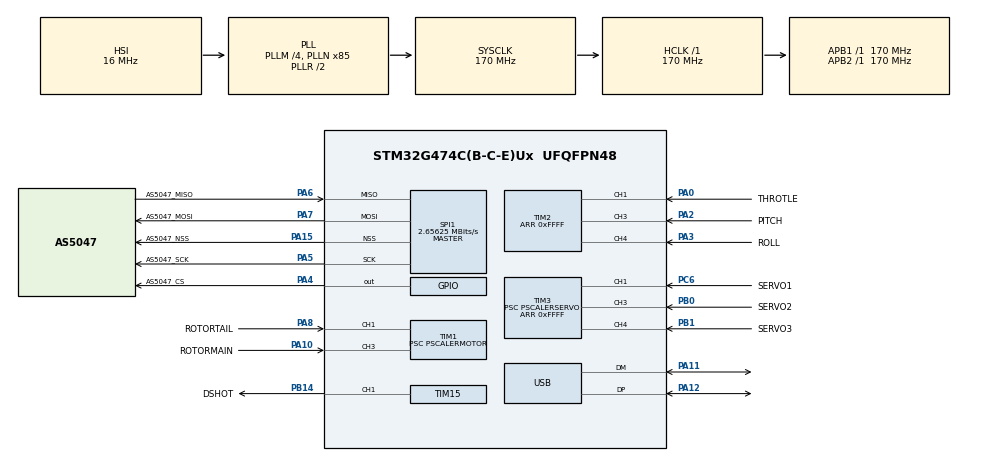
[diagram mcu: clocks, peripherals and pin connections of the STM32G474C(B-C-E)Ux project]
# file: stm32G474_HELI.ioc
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Dma.Request0=SPI1_RX
Dma.Request1=SPI1_TX
Dma.Request2=TIM15_CH1
Dma.SPI1_RX.0.Direction=DMA_PERIPH_TO_MEMORY
Dma.SPI1_RX.0.EventEnable=DISABLE
Dma.SPI1_RX.0.Instance=DMA2_Channel4
Dma.SPI1_RX.0.MemDataAlignment=DMA_MDATAALIGN_HALFWORD
Dma.SPI1_RX.0.MemInc=DMA_MINC_ENABLE
Dma.SPI1_RX.0.Mode=DMA_NORMAL
Dma.SPI1_RX.0.PeriphDataAlignment=DMA_PDATAALIGN_HALFWORD
Dma.SPI1_RX.0.PeriphInc=DMA_PINC_DISABLE
Dma.SPI1_RX.0.Polarity=HAL_DMAMUX_REQ_GEN_RISING
Dma.SPI1_RX.0.Priority=DMA_PRIORITY_MEDIUM
Dma.SPI1_RX.0.RequestNumber=1
Dma.SPI1_RX.0.SignalID=NONE
Dma.SPI1_RX.0.SyncEnable=DISABLE
Dma.SPI1_RX.0.SyncPolarity=HAL_DMAMUX_SYNC_NO_EVENT
Dma.SPI1_RX.0.SyncRequestNumber=1
Dma.SPI1_RX.0.SyncSignalID=NONE
Dma.SPI1_TX.1.Direction=DMA_MEMORY_TO_PERIPH
Dma.SPI1_TX.1.EventEnable=DISABLE
Dma.SPI1_TX.1.Instance=DMA2_Channel5
Dma.SPI1_TX.1.MemDataAlignment=DMA_MDATAALIGN_HALFWORD
Dma.SPI1_TX.1.MemInc=DMA_MINC_ENABLE
Dma.SPI1_TX.1.Mode=DMA_NORMAL
Dma.SPI1_TX.1.PeriphDataAlignment=DMA_PDATAALIGN_HALFWORD
Dma.SPI1_TX.1.PeriphInc=DMA_PINC_DISABLE
Dma.SPI1_TX.1.Polarity=HAL_DMAMUX_REQ_GEN_RISING
Dma.SPI1_TX.1.Priority=DMA_PRIORITY_MEDIUM
Dma.SPI1_TX.1.RequestNumber=1
Dma.SPI1_TX.1.SignalID=NONE
Dma.SPI1_TX.1.SyncEnable=DISABLE
Dma.SPI1_TX.1.SyncPolarity=HAL_DMAMUX_SYNC_NO_EVENT
Dma.SPI1_TX.1.SyncRequestNumber=1
Dma.SPI1_TX.1.SyncSignalID=NONE
Dma.TIM15_CH1.2.Direction=DMA_MEMORY_TO_PERIPH
Dma.TIM15_CH1.2.EventEnable=DISABLE
Dma.TIM15_CH1.2.Instance=DMA2_Channel3
Dma.TIM15_CH1.2.MemDataAlignment=DMA_MDATAALIGN_WORD
Dma.TIM15_CH1.2.MemInc=DMA_MINC_ENABLE
Dma.TIM15_CH1.2.Mode=DMA_NORMAL
Dma.TIM15_CH1.2.PeriphDataAlignment=DMA_PDATAALIGN_WORD
Dma.TIM15_CH1.2.PeriphInc=DMA_PINC_DISABLE
Dma.TIM15_CH1.2.Polarity=HAL_DMAMUX_REQ_GEN_RISING
Dma.TIM15_CH1.2.Priority=DMA_PRIORITY_LOW
Dma.TIM15_CH1.2.RequestNumber=1
Dma.TIM15_CH1.2.SignalID=NONE
Dma.TIM15_CH1.2.SyncEnable=DISABLE
Dma.TIM15_CH1.2.SyncPolarity=HAL_DMAMUX_SYNC_NO_EVENT
Dma.TIM15_CH1.2.SyncRequestNumber=1
Dma.TIM15_CH1.2.SyncSignalID=NONE
Mcu.Family=STM32G4
Mcu.Name=STM32G474C(B-C-E)Ux
Mcu.Package=UFQFPN48
Mcu.UserConstants=PSCALERSERVO,100;PSCALERMOTOR,100;PSCALERSERVO_3,100;PSCALERSERVO_2,100;PSCALERTHROTLE,100
NVIC.DMA2_Channel3_IRQn=true\:0\:0\:false\:false\:true\:false\:true\:true
NVIC.DMA2_Channel4_IRQn=true\:5\:0\:true\:false\:true\:false\:true\:true
NVIC.DMA2_Channel5_IRQn=true\:5\:0\:true\:false\:true\:false\:true\:true
NVIC.PriorityGroup=NVIC_PRIORITYGROUP_4
NVIC.SPI1_IRQn=true\:0\:0\:false\:false\:true\:true\:true\:true
NVIC.TIM1_UP_TIM16_IRQn=true\:0\:0\:false\:false\:true\:true\:true\:true
NVIC.TIM2_IRQn=true\:0\:0\:false\:false\:true\:true\:true\:true
NVIC.TIM3_IRQn=true\:0\:0\:false\:false\:true\:true\:true\:true
NVIC.TIM6_DAC_IRQn=true\:0\:0\:false\:false\:true\:true\:true\:true
PA0.GPIO_Label=THROTLE
PA0.Signal=S_TIM2_CH1
PA10.GPIO_Label=ROTORMAIN
PA10.GPIO_PuPd=GPIO_PULLDOWN
PA10.Signal=S_TIM1_CH3
PA11.Mode=Device
PA11.Signal=USB_DM
PA12.Mode=Device
PA12.Signal=USB_DP
PA13.Mode=Serial_Wire
PA13.Signal=SYS_JTMS-SWDIO
PA14.Mode=Serial_Wire
PA14.Signal=SYS_JTCK-SWCLK
PA15.GPIO_Label=AS5047_NSS
PA15.Mode=NSS_Signal_Hard_Output
PA15.Signal=SPI1_NSS
PA2.GPIO_Label=PITCH
PA2.Signal=S_TIM2_CH3
PA3.GPIO_Label=ROLL
PA3.Signal=S_TIM2_CH4
PA4.GPIO_Label=AS5047_CS
PA4.GPIO_Speed=GPIO_SPEED_FREQ_LOW
PA4.PinState=GPIO_PIN_RESET
PA4.Signal=GPIO_Output
PA5.GPIO_Label=AS5047_SCK
PA5.GPIO_Speed=GPIO_SPEED_FREQ_VERY_HIGH
PA5.Mode=Full_Duplex_Master
PA5.Signal=SPI1_SCK
PA6.GPIO_Label=AS5047_MISO
PA6.GPIO_Speed=GPIO_SPEED_FREQ_VERY_HIGH
PA6.Mode=Full_Duplex_Master
PA6.Signal=SPI1_MISO
PA7.GPIO_Label=AS5047_MOSI
PA7.GPIO_Speed=GPIO_SPEED_FREQ_VERY_HIGH
PA7.Mode=Full_Duplex_Master
PA7.Signal=SPI1_MOSI
PA8.GPIO_Label=ROTORTAIL
PA8.GPIO_PuPd=GPIO_PULLDOWN
PA8.Signal=S_TIM1_CH1
PB0.GPIO_Label=SERVO2
PB0.Signal=S_TIM3_CH3
PB1.GPIO_Label=SERVO3
PB1.Signal=S_TIM3_CH4
PB14.GPIO_Label=DSHOT
PB14.Signal=S_TIM15_CH1
PC14-OSC32_IN.Mode=LSE-External-Oscillator
PC14-OSC32_IN.Signal=RCC_OSC32_IN
PC15-OSC32_OUT.Mode=LSE-External-Oscillator
PC15-OSC32_OUT.Signal=RCC_OSC32_OUT
PC6.GPIO_Label=SERVO1
PC6.Signal=S_TIM3_CH1
PF0-OSC_IN.Mode=HSE-External-Oscillator
PF0-OSC_IN.Signal=RCC_OSC_IN
PF1-OSC_OUT.Mode=HSE-External-Oscillator
PF1-OSC_OUT.Signal=RCC_OSC_OUT
ProjectManager.HeapSize=0x200
ProjectManager.StackSize=0x400
ProjectManager.TargetToolchain=STM32CubeIDE
RCC.ADC12Freq_Value=170000000
RCC.ADC345Freq_Value=170000000
RCC.AHBFreq_Value=170000000
RCC.APB1Freq_Value=170000000
RCC.APB1TimFreq_Value=170000000
RCC.APB2Freq_Value=170000000
RCC.APB2TimFreq_Value=170000000
RCC.CK48CLockSelection=RCC_USBCLKSOURCE_HSI48
RCC.CortexFreq_Value=170000000
RCC.EXTERNAL_CLOCK_VALUE=12288000
RCC.HCLKFreq_Value=170000000
RCC.HSE_VALUE=8000000
RCC.HSI48_VALUE=48000000
RCC.HSI_VALUE=16000000
RCC.PLLM=RCC_PLLM_DIV4
RCC.PLLN=85
RCC.PLLQ=RCC_PLLQ_DIV4
RCC.SYSCLKFreq_VALUE=170000000
RCC.SYSCLKSource=RCC_SYSCLKSOURCE_PLLCLK
RCC.USBFreq_Value=48000000
RCC.VCOOutputFreq_Value=340000000
SH.S_TIM15_CH1.0=TIM15_CH1,PWM Generation1 CH1
SH.S_TIM1_CH1.0=TIM1_CH1,Input_Capture1_from_TI1
SH.S_TIM1_CH1.1=TIM1_CH1,TriggerSource_TI1FP1
SH.S_TIM1_CH3.0=TIM1_CH3,Input_Capture3_from_TI3
SH.S_TIM2_CH1.0=TIM2_CH1,Input_Capture1_from_TI1
SH.S_TIM2_CH1.1=TIM2_CH1,TriggerSource_TI1FP1
SH.S_TIM2_CH3.0=TIM2_CH3,Input_Capture3_from_TI3
SH.S_TIM2_CH4.0=TIM2_CH4,Input_Capture4_from_TI4
SH.S_TIM3_CH1.0=TIM3_CH1,Input_Capture1_from_TI1
SH.S_TIM3_CH1.1=TIM3_CH1,TriggerSource_TI1FP1
SH.S_TIM3_CH3.0=TIM3_CH3,Input_Capture3_from_TI3
SH.S_TIM3_CH4.0=TIM3_CH4,Input_Capture4_from_TI4
SPI1.BaudRatePrescaler=SPI_BAUDRATEPRESCALER_64
SPI1.CLKPhase=SPI_PHASE_2EDGE
SPI1.CalculateBaudRate=2.65625 MBits/s
SPI1.DataSize=SPI_DATASIZE_16BIT
SPI1.Direction=SPI_DIRECTION_2LINES
SPI1.Mode=SPI_MODE_MASTER
SPI1.VirtualNSS=VM_NSSHARD
SPI1.VirtualType=VM_MASTER
TIM1.AutoReloadPreload=TIM_AUTORELOAD_PRELOAD_ENABLE
TIM1.Channel-Input_Capture1_from_TI1=TIM_CHANNEL_1
TIM1.Channel-Input_Capture2_from_TI1_63=TIM_CHANNEL_2
TIM1.Channel-Input_Capture3_from_TI3=TIM_CHANNEL_3
TIM1.ICFilter_CH1=1
TIM1.ICFilter_CH3=1
TIM1.ICPolarity_CH2=TIM_INPUTCHANNELPOLARITY_FALLING
TIM1.ICPolarity_CH3=TIM_INPUTCHANNELPOLARITY_FALLING
TIM1.PeriodNoDither=0xFFFF
TIM1.Prescaler=PSCALERMOTOR
TIM1.TIM_MasterOutputTrigger=TIM_TRGO_RESET
TIM15.Channel-PWM\ Generation1\ CH1=TIM_CHANNEL_1
TIM15.PeriodNoDither=0
TIM2.AutoReloadPreload=TIM_AUTORELOAD_PRELOAD_ENABLE
TIM2.Channel-Input_Capture1_from_TI1=TIM_CHANNEL_1
TIM2.Channel-Input_Capture2_from_TI1_63=TIM_CHANNEL_2
TIM2.Channel-Input_Capture3_from_TI3=TIM_CHANNEL_3
TIM2.Channel-Input_Capture4_from_TI4=TIM_CHANNEL_4
TIM2.ICFilter_CH3=1
TIM2.ICFilter_CH4=1
TIM2.ICPolarity_CH2=TIM_INPUTCHANNELPOLARITY_FALLING
TIM2.ICPolarity_CH3=TIM_INPUTCHANNELPOLARITY_FALLING
TIM2.ICPolarity_CH4=TIM_INPUTCHANNELPOLARITY_FALLING
TIM2.PeriodNoDither=0xFFFF
TIM2.Prescaler=PSCALERTHROTLE
TIM3.AutoReloadPreload=TIM_AUTORELOAD_PRELOAD_ENABLE
TIM3.Channel-Input_Capture1_from_TI1=TIM_CHANNEL_1
TIM3.Channel-Input_Capture2_from_TI1_63=TIM_CHANNEL_2
TIM3.Channel-Input_Capture3_from_TI3=TIM_CHANNEL_3
TIM3.Channel-Input_Capture4_from_TI4=TIM_CHANNEL_4
TIM3.ICFilter_CH1=1
TIM3.ICFilter_CH3=1
TIM3.ICFilter_CH4=1
TIM3.ICPolarity_CH2=TIM_INPUTCHANNELPOLARITY_FALLING
TIM3.ICPolarity_CH3=TIM_INPUTCHANNELPOLARITY_FALLING
TIM3.ICPolarity_CH4=TIM_INPUTCHANNELPOLARITY_FALLING
TIM3.PeriodNoDither=0xFFFF
TIM3.Prescaler=PSCALERSERVO
TIM6.AutoReloadPreload=TIM_AUTORELOAD_PRELOAD_ENABLE
TIM6.PeriodNoDither=5000-1
TIM6.Prescaler=170-1
TIM6.TIM_MasterOutputTrigger=TIM_TRGO_RESET
VP_CORDIC_VS_CORDIC.Mode=CORDIC_Activate
VP_SYS_VS_DBSignals.Mode=DisableDeadBatterySignals
VP_TIM15_VS_ClockSourceINT.Mode=Internal
VP_TIM1_VS_ClockSourceINT.Mode=Internal
VP_TIM1_VS_ControllerModeReset.Mode=Reset Mode
VP_TIM1_VS_indirect_ch1.Mode=Input_Capture2_from_TI1_63
VP_TIM2_VS_ClockSourceINT.Mode=Internal
VP_TIM2_VS_ControllerModeReset.Mode=Reset Mode
VP_TIM2_VS_indirect_ch1.Mode=Input_Capture2_from_TI1_63
VP_TIM3_VS_ClockSourceINT.Mode=Internal
VP_TIM3_VS_ControllerModeReset.Mode=Reset Mode
VP_TIM3_VS_indirect_ch1.Mode=Input_Capture2_from_TI1_63
VP_TIM6_VS_ClockSourceINT.Mode=Enable_Timer
board=custom

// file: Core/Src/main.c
/* USER CODE BEGIN Header */
/**
  ******************************************************************************
  * @file           : main.c
  * @brief          : Main program body
  ******************************************************************************
  * @attention
  *
  * Copyright (c) 2024 STMicroelectronics.
  * All rights reserved.
  *
  * This software is licensed under terms that can be found in the LICENSE file
  * in the root directory of this software component.
  * If no LICENSE file comes with this software, it is provided AS-IS.
  *
  ******************************************************************************
  */
/* USER CODE END Header */
#include "main.h"
#include "cordic.h"
#include "dma.h"
#include "spi.h"
#include "tim.h"
#include "usb.h"
#include "gpio.h"

/* USER CODE BEGIN Includes */
#include "projectMain.h"

#include "AS5047D.h"
#include "debug_scope.h"
#include "mathutils.h"
#include "dshot.h"
#include "circBuffer.h"
/* USER CODE END Includes */

/* USER CODE BEGIN PTD */
/* Definitions of data related to this example */
  /* Definition of ADCx conversions data table size */
  /* Size of array set to ADC sequencer number of ranks converted,            */
  /* to have a rank in each array address.                                    */
  #define ADC_CONVERTED_DATA_BUFFER_SIZE   ((uint32_t)   3)
  #define VDDA_APPLI                       ((uint32_t) 3300)    /* Value of analog voltage supply Vdda (unit: mV) */
/* Private macro -------------------------------------------------------------*/
/* Private variables ---------------------------------------------------------*/

/* USER CODE END PTD */

/* USER CODE BEGIN PD */
#define MINVOLTAGE (0)
#define MAXVOLTAGE (3300)
#define MINSPEED (0)
#define MAXSPEED (2000)
#define SERVOCOMMAND (0)  // defines whether the rotor inclination is controlled by the three servo commands or the roll and pitch command
const int16_t MINROTATION  = 100;
/* USER CODE END PD */

/* USER CODE BEGIN PV */

/* Variables for ADC conversion data */
__IO uint32_t aADCxConvertedData[ADC_CONVERTED_DATA_BUFFER_SIZE]; /* ADC group regular conversion data */

uint16_t my_motor_value[4] = {2345, 0, 0, 0};

DebugCommand debugCommand = 0;
DebugScope_Handle_t debugData =
  {
        .sz = DEBUGSCOPESIZE,
        .curCh = 1,
        .id = 0,
        .startWriteFlag = false
    };
int32_t encoderAngle = 0;
float spiAngle = 0;

uint16_t ERRFL = 0;
uint16_t PROG = 0;
uint16_t DIAAGC = 0;
uint16_t ANGLEUNC = 0;

uint16_t NOP = 0;
uint16_t CORDICMAG = 0;
uint16_t ANGLECOM = 0;
uint16_t ZPOSM = 0;
uint16_t ZPOSL = 0;
uint16_t SETTINGS1 = 0;
uint16_t SETTINGS2 = 0;

int32_t timerData = 0;
float true_angle = 0.0f;
bool armed = false;

__IO uint32_t PHASE_Voltage = 0;        /* Value of voltage on GPIO pin (on which is mapped ADC channel) calculated from ADC conversion data (unit: mV) */
__IO uint32_t AVGSPEED_Voltage = 0;        /* Value of voltage on GPIO pin (on which is mapped ADC channel) calculated from ADC conversion data (unit: mV) */
__IO uint32_t AMPSPEED_Voltage = 0;        /* Value of voltage on GPIO pin (on which is mapped ADC channel) calculated from ADC conversion data (unit: mV) */

extern float frequencySERVO_1, frequencySERVO_2, frequencySERVO_3, frequencyMOTOR_MAIN, frequencyTHROTLE;
extern float widthSERVO_1, widthSERVO_2, widthSERVO_3, widthMOTOR_MAIN, widthMOTOR_TAIL, widthTHROTLE, widthPITCH, widthROLL;

float minFrequency = 100, maxFrequency = 500;

float minSERVO = 0.40, maxSERVO = 0.80;
float minMOTOR = 0.40, maxMOTOR = 0.76;
float minTHROTLE = 0.40, maxTHROTLE = 0.80;
float servoAngle1 = 0.f/180.f*PI, servoAngle2 = 120.f/180.f*PI, servoAngle3 = 240.f/180.f*PI;
float servoR1 = 1, servoR2 = 1, servoR3 = 1;
float servo1Nominal = 0.47652, servo2Nominal = 0.47931, servo3Nominal = 0.47848;
float pitchCommand = 0, rollCommand = 0;

float minAttwidth = 0.3292, maxAttwidth = 0.8894, zeroAttwidth = 0.6093;

static float sinS[4]={0,0,0,0};
static float cosS[4]={0,0,0,0};

uint8_t errorFlag[20]={99, 99, 99, 99,99,99,99,99,99,99,99,99,99,99,99,99,99,99,99,99};
static int32_t spiAngle32 = 0, oldRotorAngle = 0, veryLowSpeedCounter = 0;
static float rotorRPM = 0;

float latFac=1.f, lonFac=-1.f;
static int32_t magneticPhaseOffset = -15; // phase angle offset (degrees) due to arbitrary azimuth of magnet on the motor
/* USER CODE END PV */

void SystemClock_Config(void);
/* USER CODE BEGIN PFP */
void getAngleFromAS5047D(int32_t *angle, uint8_t *errorFlag);
void servo2planeABCD(const float servo1, const float servo2, const float servo3,
                      float *A, float *B, float *C, float *D);
uint8_t calculateFreqAndWidth(const circ_buf_t *riseData, const circ_buf_t *fallData, const float period, float *frequency, float *width);
void getServoCommands(float *servo1Command, float *servo2Command, float *servo3Command,
                      float *motorMainCommand, float *motorTailCommand,
                      float *throtleCommand, float *rollCommand, float *pitchCommand);
void calculateHeadingAndInclination(const float servo1Command, const float servo2Command, const float servo3Command,
                                    const float rollCommand, const float pitchCommand,
                                    float *heading, float *inclination);
void convertCommandsToMainRotSpeed(const float collective, const float inclination, const float heading, uint16_t *totalSpeed);
/* USER CODE END PFP */

/* USER CODE BEGIN 0 */
void DelayUS(uint32_t us)
{
    for (uint32_t i = 0; i < us*180; i++)
    {
        __NOP();
    }
}

/* USER CODE END 0 */

int main(void)
{

  /* USER CODE BEGIN 1 */
    cosS[1] = cosf(servoAngle1); cosS[2] = cosf(servoAngle2); cosS[3] = cosf(servoAngle3);
    sinS[1] = sinf(servoAngle1); sinS[2] = sinf(servoAngle2); sinS[3] = sinf(servoAngle3);
  /* USER CODE END 1 */

  /* MCU Configuration--------------------------------------------------------*/

  /* Reset of all peripherals, Initializes the Flash interface and the Systick. */
  HAL_Init();

  /* Configure the system clock */
  SystemClock_Config();

  /* Initialize all configured peripherals */
  MX_GPIO_Init();
  MX_DMA_Init();
  MX_SPI1_Init();
  MX_TIM1_Init();
  MX_TIM2_Init();
  MX_TIM3_Init();
  MX_TIM6_Init();
  MX_CORDIC_Init();
  MX_TIM15_Init();
  MX_USB_PCD_Init();
  /* USER CODE BEGIN 2 */

    /* Initiaize AS5047D */
    uint16_t nop,AGC;

    errorFlag[0] = AS5047D_Read(  AS5047_CS_GPIO_Port,   AS5047_CS_Pin, AS5047D_NOP, &nop);
    errorFlag[1] = AS5047D_Get_AGC_Value(&AGC);
    errorFlag[2] = AS5047D_Read(  AS5047_CS_GPIO_Port,   AS5047_CS_Pin, AS5047D_ERRFL, &ERRFL);
    errorFlag[3] = AS5047D_Read(  AS5047_CS_GPIO_Port,   AS5047_CS_Pin, AS5047D_ERRFL, &ERRFL);
    errorFlag[4] = AS5047D_Read(  AS5047_CS_GPIO_Port,   AS5047_CS_Pin, AS5047D_PROG, &PROG);
    // errorFlag[5] = AS5047D_Read(  AS5047_CS_GPIO_Port,   AS5047_CS_Pin, AS5047D_ANGLEUNC, &ANGLEUNC);
    // errorFlag[6] = AS5047D_Read(  AS5047_CS_GPIO_Port,   AS5047_CS_Pin, AS5047D_CORDICMAG, &CORDICMAG);
    errorFlag[7] = AS5047D_Read(  AS5047_CS_GPIO_Port,   AS5047_CS_Pin, AS5047D_ANGLECOM, &ANGLECOM);
    // errorFlag[8] = AS5047D_Read(  AS5047_CS_GPIO_Port,   AS5047_CS_Pin, AS5047D_ZPOSM, &ZPOSM);
    // errorFlag[9] = AS5047D_Read(  AS5047_CS_GPIO_Port,   AS5047_CS_Pin, AS5047D_ZPOSL, &ZPOSL);
    // errorFlag[10] = AS5047D_Read(  AS5047_CS_GPIO_Port,   AS5047_CS_Pin, AS5047D_SETTINGS1, &SETTINGS1);
    // errorFlag[11] = AS5047D_Read(  AS5047_CS_GPIO_Port,   AS5047_CS_Pin, AS5047D_SETTINGS2, &SETTINGS2);

    errorFlag[12] = AS5047D_Get_True_Angle_Value(&true_angle);

    dshot_init(DSHOT600);

    //ProjectMain();
  /* USER CODE END 2 */

  /* Infinite loop */
  /* USER CODE BEGIN WHILE */

    enum State state = STATE_DISARMED;
    float heading = 0, inclination = 0;  uint16_t totalSpeed = 0;
    int32_t delta = 0;
    uint8_t debugRes = 0;
    float data[DEBUGSCOPENUMOFCH] = {0.0f, 0.0f};
    float servo1Command =0, servo2Command = 0, servo3Command = 0;
    float motorMainCommand = 0, throtleCommand = 0, motorTailCommand=0;

    DebugScopeStartWrite(&debugData);
    // HAL_ADC_Start_DMA(&hadc1, aADCxConvertedData, ADC_CONVERTED_DATA_BUFFER_SIZE);
    LL_TIM_EnableCounter(TIM6);
    LL_TIM_EnableIT_UPDATE(TIM6);

    LL_TIM_EnableCounter(TIM1);
    LL_TIM_EnableCounter(TIM2);
    LL_TIM_EnableCounter(TIM3);
    LL_TIM_EnableCounter(TIM4);
    /*## Start PWM signal generation in DMA mode ############################*/

    for (int i = 0; i < 320; i++)
    {
      int16_t value = 0;
      dshot_send(&value, DSHOT_COMMAND_STOP);
      HAL_Delay(1);
    }
    // HAL_Delay(1000);

    uint16_t dtus;
    bool entry = false;
    uint16_t armingCounter = 0;
    while (1)
    {
        // // Read the angle from the AS5047D encoder
        updateRotorSpeed();

        getServoCommands(&servo1Command, &servo2Command, &servo3Command, &motorMainCommand, &motorTailCommand, &throtleCommand, &rollCommand, &pitchCommand);

        calculateHeadingAndInclination(servo1Command, servo2Command, servo3Command, rollCommand, pitchCommand, &heading, &inclination);

        convertCommandsToMainRotSpeed(throtleCommand, inclination, heading, &totalSpeed);

        //   State Machine
        switch (state)
        {
            //////////////////////////////////////////////////////////////////////////////////////
            case STATE_DISARMED:
                // Stop the main motor
                totalSpeed = 0;
                int16_t value = 0;
                dshot_send(&value, DSHOT_COMMAND_STOP);
                HAL_Delay(1);

                if ((motorTailCommand > 0.05) || (motorMainCommand > 0.05))
                {
                    state = STATE_ARMING;
                    entry = true;
                }
                else
                {
                    continue;
                }
                break;
            //////////////////////////////////////////////////////////////////////////////////////
            case STATE_ARMING:
            // Arming the motor in two steps:
            // 1. Spin the motor at a very low speed
            // 2. If the rotor is spinning, arm the motor
            // 3. If the rotor is not spinning, stop the motor
                if (entry)
                {
                    entry = false;
                    armingCounter = 0;
                }
                veryLowSpeedCounter = 0;
                armingCounter++;

                dshot_send(&MINROTATION, DSHOT_COMMAND_VELOCITY);
                HAL_Delay(1);

                if (armingCounter > 1000 && rotorRPM > 10) // if the rotor is spinning, arm the motor
                {
                  state = STATE_ARMED;
                }
                else if (armingCounter > 3000 && rotorRPM < 10) // if the rotor is not spinning, stop the motor
                {
                  state = STATE_DISARMED;
                }
                break;
            //////////////////////////////////////////////////////////////////////////////////////
            case STATE_ARMED:
                // If the motor is not commanded to spin, disarm the motor
                if (motorMainCommand < 0.05)
                {
                  state = STATE_DISARMED;
                  continue;
                }
                if (rotorRPM < 10) // if the rotor is not spinning start the timer to check if the rotor is spinning
                {
                    veryLowSpeedCounter++;
                    if (veryLowSpeedCounter > 10000) // if the rotor is not spinning for too long, stop the motor
                    {
                        totalSpeed = 0;
                        dshot_send(&totalSpeed, DSHOT_COMMAND_STOP);
                        HAL_Delay(3000); //HAL_Delay(10000);
                        veryLowSpeedCounter = 0;
                        state = STATE_DISARMED;
                        continue;
                    }
                }
                else // if the rotor is spinning, reset the timer
                {
                  veryLowSpeedCounter = 0;
                }

                dshot_send(&totalSpeed, DSHOT_COMMAND_VELOCITY);

                // data[0] = (float)spiAngle32;
                // data[1] = (float)totalSpeed;
                // data[2] = (float)delta;
                // debugRes = DebugScopeInsertData(&debugData, data);
                // if (debugRes == NO_MORE_PLACE_TO_WRITE)
                // {
                //   DebugScopeStartWrite(&debugData);
                // }

              break;
        }

    /* USER CODE END WHILE */

    }
}

void SystemClock_Config(void)
{
  RCC_OscInitTypeDef RCC_OscInitStruct = {0};
  RCC_ClkInitTypeDef RCC_ClkInitStruct = {0};

  /** Configure the main internal regulator output voltage
  */
  HAL_PWREx_ControlVoltageScaling(PWR_REGULATOR_VOLTAGE_SCALE1_BOOST);

  /** Initializes the RCC Oscillators according to the specified parameters
  * in the RCC_OscInitTypeDef structure.
  */
  RCC_OscInitStruct.OscillatorType = RCC_OSCILLATORTYPE_HSI|RCC_OSCILLATORTYPE_HSI48;
  RCC_OscInitStruct.HSIState = RCC_HSI_ON;
  RCC_OscInitStruct.HSICalibrationValue = RCC_HSICALIBRATION_DEFAULT;
  RCC_OscInitStruct.HSI48State = RCC_HSI48_ON;
  RCC_OscInitStruct.PLL.PLLState = RCC_PLL_ON;
  RCC_OscInitStruct.PLL.PLLSource = RCC_PLLSOURCE_HSI;
  RCC_OscInitStruct.PLL.PLLM = RCC_PLLM_DIV4;
  RCC_OscInitStruct.PLL.PLLN = 85;
  RCC_OscInitStruct.PLL.PLLP = RCC_PLLP_DIV2;
  RCC_OscInitStruct.PLL.PLLQ = RCC_PLLQ_DIV4;
  RCC_OscInitStruct.PLL.PLLR = RCC_PLLR_DIV2;
  if (HAL_RCC_OscConfig(&RCC_OscInitStruct) != HAL_OK)
  {
    Error_Handler();
  }

  /** Initializes the CPU, AHB and APB buses clocks
  */
  RCC_ClkInitStruct.ClockType = RCC_CLOCKTYPE_HCLK|RCC_CLOCKTYPE_SYSCLK
                              |RCC_CLOCKTYPE_PCLK1|RCC_CLOCKTYPE_PCLK2;
  RCC_ClkInitStruct.SYSCLKSource = RCC_SYSCLKSOURCE_PLLCLK;
  RCC_ClkInitStruct.AHBCLKDivider = RCC_SYSCLK_DIV1;
  RCC_ClkInitStruct.APB1CLKDivider = RCC_HCLK_DIV1;
  RCC_ClkInitStruct.APB2CLKDivider = RCC_HCLK_DIV1;

  if (HAL_RCC_ClockConfig(&RCC_ClkInitStruct, FLASH_LATENCY_4) != HAL_OK)
  {
    Error_Handler();
  }
}

/* USER CODE BEGIN 4 */
void updateRotorSpeed()
{
  getAngleFromAS5047D(&spiAngle32, errorFlag);
  float dt=(float)TIM6->CNT/1e6;
  TIM6->CNT = 0;

  rotorRPM = fabsf((oldRotorAngle - spiAngle32)*60.f/360.f/dt);
  oldRotorAngle = spiAngle32;
}

uint8_t calculateFreqAndWidth(const circ_buf_t *riseData, const circ_buf_t *fallData, const float period, float *frequency, float *width)
{
  if (!circ_buf_is_full(riseData) || !circ_buf_is_full(fallData))
    return 0;

  scalarMeasurement_t riseDataLast, fallDataLast;
  circ_buf_last(riseData, &riseDataLast);
  circ_buf_last(fallData, &fallDataLast);

  scalarMeasurement_t riseDataFirst, fallDataFirst;
  circ_buf_first(riseData, &riseDataFirst);
  circ_buf_first(fallData, &fallDataFirst);

  float ticks = (riseDataFirst-riseDataLast)/(riseData->circBufferLen-1);
  *frequency = 1.f/(ticks*period);
  if (fallDataLast < riseDataLast)
    *width = 1.0f-(fallDataLast-riseDataLast)/ticks;
  else
    *width = (fallDataLast-riseDataLast)/ticks;

  return 1;
}

void servo2planeABCD(const float servo1, const float servo2, const float servo3,
                      float *A, float *B, float *C, float *D)
{
  Point p1={.x=servoR1*cosS[1], .y=servoR1*sinS[1], .z=servo1};
  Point p2={.x=servoR2*cosS[2], .y=servoR2*sinS[2], .z=servo2};
  Point p3={.x=servoR3*cosS[3], .y=servoR3*sinS[3], .z=servo3};

  Vector v1={.x=p2.x-p1.x, .y=p2.y-p1.y, .z=p2.z-p1.z};
  Vector v2={.x=p3.x-p1.x, .y=p3.y-p1.y, .z=p3.z-p1.z};

  Vector n={.x=v1.y*v2.z-v1.z*v2.y, .y=v1.z*v2.x-v1.x*v2.z, .z=v1.x*v2.y-v1.y*v2.x};
  float norminv = 1./sqrt(n.x*n.x+n.y*n.y+n.z*n.z);
  n.x = n.x*norminv*lonFac;
  n.y = n.y*norminv*latFac;
  n.z = n.z*norminv;
  *D = -(n.x*p1.x+n.y*p1.y+n.z*p1.z);
  *A = n.x;
  *B = n.y;
  *C = n.z;
}

void getServoCommands(float *servo1Command, float *servo2Command, float *servo3Command,
                      float *motorMainCommand, float *motorTailCommand,
                      float *throtleCommand, float *rollCommand, float *pitchCommand)
{
    // Calculate the period of the servo signals
    float period = 1.f/(TIMCLOCK/TIM2->PSC);
    *servo1Command = (widthSERVO_1-minSERVO)/(maxSERVO-minSERVO);//-servo1Nominal;
    *servo2Command = (widthSERVO_2-minSERVO)/(maxSERVO-minSERVO);//-servo2Nominal;
    *servo3Command = (widthSERVO_3-minSERVO)/(maxSERVO-minSERVO);//-servo3Nominal;

    *motorMainCommand = (widthMOTOR_MAIN-minMOTOR)/(maxMOTOR-minMOTOR);
    *motorMainCommand = min(*motorMainCommand, 1);
    *motorMainCommand = max(*motorMainCommand, 0);

    *motorTailCommand = (widthMOTOR_TAIL-minMOTOR)/(maxMOTOR-minMOTOR);
    *motorTailCommand = min(*motorTailCommand, 1);
    *motorTailCommand = max(*motorTailCommand, 0);

    // Calculate the throttle command
    if isnan(widthTHROTLE)
        widthTHROTLE = minTHROTLE;
    *throtleCommand = (widthTHROTLE-minTHROTLE)/(maxTHROTLE-minTHROTLE);
    *throtleCommand = min(*throtleCommand, 1);
    *throtleCommand = max(* throtleCommand, 0);

    // Calculate the roll command
    if isnan(widthROLL)
        widthROLL = zeroAttwidth;
    *rollCommand = (widthROLL-zeroAttwidth)/(maxAttwidth-minAttwidth);
    *rollCommand = min(*rollCommand, 1);
    *rollCommand = max(*rollCommand, -1);

    // Calculate the pitch command
    if isnan(widthPITCH)
        widthPITCH = zeroAttwidth;
    *pitchCommand = (widthPITCH-zeroAttwidth)/(maxAttwidth-minAttwidth);
    *pitchCommand = min(*pitchCommand, 1);
    *pitchCommand = max(*pitchCommand, -1);
}

void convertCommandsToMainRotSpeed(const float collective, const float inclination, const float heading, uint16_t *totalSpeed)
{
    // Calculate the average speed
    float avgSpeed = collective*2000.;
    avgSpeed = (avgSpeed>1950)?2000:avgSpeed;
    avgSpeed = (avgSpeed<50)?0:avgSpeed;
    // if (AVGSPEED_Voltage > 50)
    //   avgSpeed = VoltageToAVGSpeed(AVGSPEED_Voltage);

    float ampSpeed = inclination/0.54f*100;//
    ampSpeed = (ampSpeed > 80)?100:ampSpeed;
    ampSpeed = (ampSpeed < 5)?0:ampSpeed;
    ampSpeed = ampSpeed*avgSpeed*3*1/2/100/2*3/2;

    float phase = heading*180/3.14159;

    float delta = ampSpeed*sine_m(spiAngle32 + phase + magneticPhaseOffset);
    *totalSpeed = (uint16_t)(avgSpeed + delta);

    // totalSpeed+=50;
    *totalSpeed = min(*totalSpeed, (uint16_t)2000);
    *totalSpeed = max(*totalSpeed, (uint16_t)MINROTATION);
}

void calculateHeadingAndInclination(const float servo1Command, const float servo2Command, const float servo3Command,
                                    const float rollCommand, const float pitchCommand,
                                    float *heading, float *inclination)
{
    // Calculate the heading and inclination
    if (SERVOCOMMAND)
    {
        // Calculate the heading and inclination using the three servo commands
        float A, B, C, D;
        servo2planeABCD(servo1Command, servo2Command, servo3Command, &A, &B, &C, &D);
        //float heading = atan2f(B, A);
        *heading = atan2_m(B, A);
        //float inclination = acos(C);
        *inclination = acos_nvidia(C);
    }
    else
    {
        // Calculate the heading and inclination using the roll and pitch commands
        *heading = atan2_m(rollCommand*latFac, pitchCommand*lonFac);
        *inclination = sqrt(pitchCommand*pitchCommand + rollCommand*rollCommand);
        *inclination = min(*inclination, 1);
    }
}

void getAngleFromAS5047D(int32_t *angle, uint8_t *errorFlag)
{
    uint16_t ANGLECOM;
    // Read the angle from the AS5047D encoder
    errorFlag[7] = AS5047D_Read(  AS5047_CS_GPIO_Port,   AS5047_CS_Pin, AS5047D_ANGLECOM, &ANGLECOM);
    *angle = (int32_t)ANGLECOM * 360 / 16384;
    // errorFlag[15] = AS5047D_Get_True_Angle_Value(&spiAngle);
    if (errorFlag[7] != 0)
    {
      errorFlag[16] = AS5047D_Read(AS5047_CS_GPIO_Port, AS5047_CS_Pin, AS5047D_ERRFL, &ERRFL);
    }
}
/* USER CODE END 4 */

void Error_Handler(void)
{
  __disable_irq();
  while (1)
  {
  }
}
